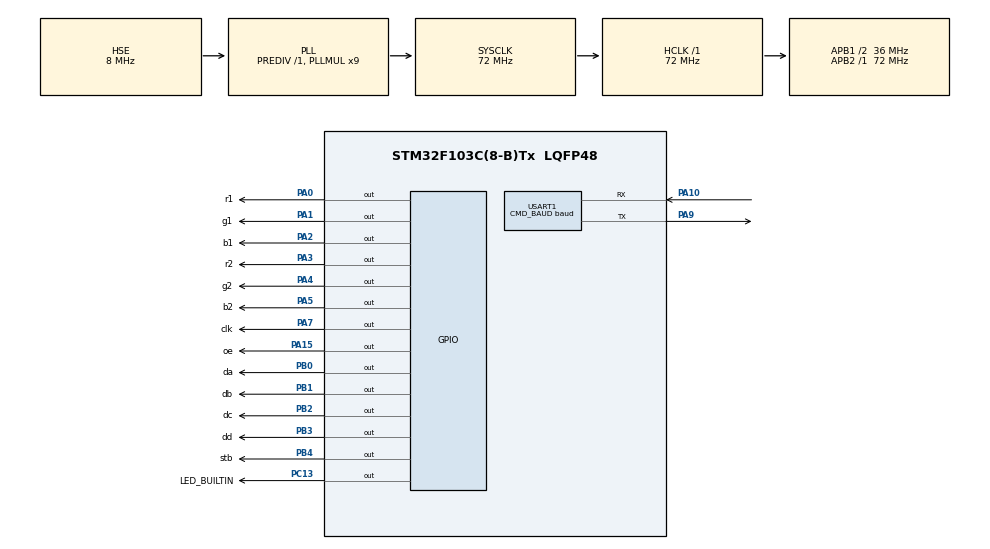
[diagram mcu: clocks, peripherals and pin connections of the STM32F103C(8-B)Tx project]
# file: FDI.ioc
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Dma.Request0=TIM1_UP
Dma.TIM1_UP.0.Direction=DMA_MEMORY_TO_PERIPH
Dma.TIM1_UP.0.Instance=DMA1_Channel5
Dma.TIM1_UP.0.MemDataAlignment=DMA_MDATAALIGN_BYTE
Dma.TIM1_UP.0.MemInc=DMA_MINC_ENABLE
Dma.TIM1_UP.0.Mode=DMA_NORMAL
Dma.TIM1_UP.0.PeriphDataAlignment=DMA_PDATAALIGN_BYTE
Dma.TIM1_UP.0.PeriphInc=DMA_PINC_DISABLE
Dma.TIM1_UP.0.Priority=DMA_PRIORITY_HIGH
IWDG.Prescaler=IWDG_PRESCALER_64
IWDG.Reload=IWDG_1S
Mcu.Family=STM32F1
Mcu.Name=STM32F103C(8-B)Tx
Mcu.Package=LQFP48
Mcu.UserConstants=CLK_PSC,0;CLK_ARR,5;CLK_MAX_DUTY,(CLK_ARR + 1);OE_PSC,0;OE_ARR,59999;OE_MAX_DUTY,(OE_ARR + 1);IWDG_1S,625;CMD_BAUD,38400
NVIC.DMA1_Channel5_IRQn=true\:6\:0\:true\:false\:true\:false\:true
NVIC.PriorityGroup=NVIC_PRIORITYGROUP_4
NVIC.TIM2_IRQn=true\:7\:0\:true\:false\:true\:true\:true
NVIC.USART1_IRQn=true\:8\:0\:true\:false\:false\:true\:true
PA0-WKUP.GPIO_Label=r1
PA0-WKUP.GPIO_Speed=GPIO_SPEED_FREQ_HIGH
PA0-WKUP.Signal=GPIO_Output
PA1.GPIO_Label=g1
PA1.GPIO_Speed=GPIO_SPEED_FREQ_HIGH
PA1.Signal=GPIO_Output
PA10.GPIO_PuPd=GPIO_PULLUP
PA10.Mode=Asynchronous
PA10.Signal=USART1_RX
PA13.Mode=Serial_Wire
PA13.Signal=SYS_JTMS-SWDIO
PA14.Mode=Serial_Wire
PA14.Signal=SYS_JTCK-SWCLK
PA15.GPIO_Label=oe
PA15.GPIO_Speed=GPIO_SPEED_FREQ_HIGH
PA15.Signal=GPIO_Output
PA2.GPIO_Label=b1
PA2.GPIO_Speed=GPIO_SPEED_FREQ_HIGH
PA2.Signal=GPIO_Output
PA3.GPIO_Label=r2
PA3.GPIO_Speed=GPIO_SPEED_FREQ_HIGH
PA3.Signal=GPIO_Output
PA4.GPIO_Label=g2
PA4.GPIO_Speed=GPIO_SPEED_FREQ_HIGH
PA4.Signal=GPIO_Output
PA5.GPIO_Label=b2
PA5.GPIO_Speed=GPIO_SPEED_FREQ_HIGH
PA5.Signal=GPIO_Output
PA7.GPIO_Label=clk
PA7.GPIO_ModeDefaultOutputPP=GPIO_MODE_OUTPUT_PP
PA7.GPIO_PuPd=GPIO_NOPULL
PA7.GPIO_Speed=GPIO_SPEED_FREQ_HIGH
PA7.Signal=GPIO_Output
PA9.Mode=Asynchronous
PA9.Signal=USART1_TX
PB0.GPIO_Label=da
PB0.GPIO_Speed=GPIO_SPEED_FREQ_HIGH
PB0.Signal=GPIO_Output
PB1.GPIO_Label=db
PB1.GPIO_Speed=GPIO_SPEED_FREQ_HIGH
PB1.Signal=GPIO_Output
PB2.GPIO_Label=dc
PB2.GPIO_Speed=GPIO_SPEED_FREQ_HIGH
PB2.Signal=GPIO_Output
PB3.GPIO_Label=dd
PB3.GPIO_Speed=GPIO_SPEED_FREQ_HIGH
PB3.Signal=GPIO_Output
PB4.GPIO_Label=stb
PB4.GPIO_Speed=GPIO_SPEED_FREQ_HIGH
PB4.Signal=GPIO_Output
PC13-TAMPER-RTC.GPIO_Label=LED_BUILTIN
PC13-TAMPER-RTC.GPIO_Speed=GPIO_SPEED_FREQ_HIGH
PC13-TAMPER-RTC.PinState=GPIO_PIN_SET
PC13-TAMPER-RTC.Signal=GPIO_Output
PD0-OSC_IN.Mode=HSE-External-Oscillator
PD0-OSC_IN.Signal=RCC_OSC_IN
PD1-OSC_OUT.Mode=HSE-External-Oscillator
PD1-OSC_OUT.Signal=RCC_OSC_OUT
ProjectManager.HeapSize=0x200
ProjectManager.StackSize=0x400
ProjectManager.TargetToolchain=TrueSTUDIO
RCC.AHBFreq_Value=72000000
RCC.APB1CLKDivider=RCC_HCLK_DIV2
RCC.APB1Freq_Value=36000000
RCC.APB1TimFreq_Value=72000000
RCC.APB2Freq_Value=72000000
RCC.APB2TimFreq_Value=72000000
RCC.HCLKFreq_Value=72000000
RCC.PLLMUL=RCC_PLL_MUL9
RCC.PLLSourceVirtual=RCC_PLLSOURCE_HSE
RCC.SYSCLKFreq_VALUE=72000000
RCC.SYSCLKSource=RCC_SYSCLKSOURCE_PLLCLK
RCC.USBFreq_Value=48000000
RCC.USBPrescaler=RCC_USBCLKSOURCE_PLL_DIV1_5
TIM1.Period=CLK_ARR
TIM1.Prescaler=CLK_PSC
TIM2.Period=OE_ARR
TIM2.Prescaler=OE_PSC
TIM2.TIM_MasterOutputTrigger=TIM_TRGO_UPDATE
USART1.BaudRate=CMD_BAUD
USART1.Mode=MODE_RX
USART1.VirtualMode=VM_ASYNC
VP_IWDG_VS_IWDG.Mode=IWDG_Activate
VP_TIM1_VS_ClockSourceINT.Mode=Internal
VP_TIM2_VS_ClockSourceINT.Mode=Internal
board=custom

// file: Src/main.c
/* USER CODE BEGIN Header */
/**
 ******************************************************************************
 * @file           : main.c
 * @brief          : Main program body
 ******************************************************************************
 * @attention
 *
 * <h2><center>&copy; Copyright (c) 2020 STMicroelectronics.
 * All rights reserved.</center></h2>
 *
 * This software component is licensed by ST under BSD 3-Clause license,
 * the "License"; You may not use this file except in compliance with the
 * License. You may obtain a copy of the License at:
 *                        opensource.org/licenses/BSD-3-Clause
 *
 ******************************************************************************
 */
#define USE_EEPROM_FUNCTION		1
/* USER CODE END Header */

#include "main.h"

/* USER CODE BEGIN Includes */
#include <string.h>
#include <stdio.h>
#include <stdlib.h>

#include "stm_hal_serial.h"
#include "matrix_config.h"
#include "matrix.h"

#if USE_EEPROM_FUNCTION==1
#include "eeprom.h"
#endif	//if USE_EEPROM_FUNCTION==1
/* USER CODE END Includes */

/* USER CODE BEGIN PTD */
#define DISPLAY_TEXT_MAX_SIZE		64
typedef enum
{
	st_to_default,
	st_default,
	st_block,
	st_ops
} StateMachineBit_e;

typedef enum
{
	anim_to_start,
	anim_start,
	anim_start_blinking,
	anim_running,
	anim_end,
	anim_info
} StateAnimation_e;

typedef struct
{
	StateAnimation_e state;
	uint32_t timeout;
} Animation_t;

typedef enum
{
	DISPLAY_TEXT = 0,
	DISPLAY_BLOCK
} DisplayType_e;

typedef struct
{
	DisplayType_e type;
	uint8_t fontSize;
	uint8_t color;
	char msg[DISPLAY_TEXT_MAX_SIZE];
	uint32_t timeout;
} DisplayText_t;

typedef struct
{
	Animation_t animation;
	DisplayText_t activeText;
	DisplayText_t newText;
	DisplayText_t defaultText;
	bool newTextAvailable;
} StateKeeper_t;
/* USER CODE END PTD */

/* USER CODE BEGIN PD */
#define DEBUG					0
#if DEBUG==1
uint16_t fps = 0;
#endif	//if DEBUG==1

#define CMD_BUFSIZE				128
#define TEXT_COLOR				0b001

#define CMD_TIMEOUT				35000
/* USER CODE END PD */

IWDG_HandleTypeDef hiwdg;

TIM_HandleTypeDef htim1;
TIM_HandleTypeDef htim2;
DMA_HandleTypeDef hdma_tim1_up;

UART_HandleTypeDef huart1;

/* USER CODE BEGIN PV */
/* TODO Global Variables*/
Ring_Buffer_t tx1Buffer = { { 0 }, 0, 0 };
Ring_Buffer_t rx1Buffer = { { 0 }, 0, 0 };
TSerial serial = { &rx1Buffer, &tx1Buffer, &huart1 };

volatile uint8_t swapBufferStart = 0;
volatile uint32_t activeFrameRowAdress = 0;
volatile uint32_t matrix_row = 0;
volatile uint8_t deactiveMatrix = 0;

char inCmd[CMD_BUFSIZE];

StateKeeper_t stateKeeper;
uint8_t activeDisplayState = st_to_default;

#if USE_EEPROM_FUNCTION==1
const uint16_t START_EE_ADDRESS = 0;
const uint32_t FORMATED_BYTES = 0x6B757200;
const uint8_t EE_DATA_MAX_SIZE = DISPLAY_TEXT_MAX_SIZE / 4 + 1;
#endif	//if USE_EEPROM_FUNCTION==1
/* USER CODE END PV */

void SystemClock_Config(void);
static void MX_GPIO_Init(void);
static void MX_DMA_Init(void);
static void MX_TIM1_Init(void);
static void MX_TIM2_Init(void);
static void MX_USART1_UART_Init(void);
static void MX_IWDG_Init(void);
/* USER CODE BEGIN PFP */
static void startDmaTransfering();
static void dmaTransferCompleted(DMA_HandleTypeDef *hdma);

static HAL_StatusTypeDef parsingCommand(char *cmd, StateKeeper_t *state);
static void commandHandler();
static void commandInit();
#if USE_EEPROM_FUNCTION==1
static void commandEEInit();
static void commandEESave(uint8_t color, uint8_t fontSize, char *buf);
#endif	//if USE_EEPROM_FUNCTION==1

static void displayHandler();
static void displayAnimation(uint8_t currentState, bool blinking);
/* USER CODE END PFP */

int main(void)
{

	/* MCU Configuration--------------------------------------------------------*/

	/* Reset of all peripherals, Initializes the Flash interface and the Systick. */
	HAL_Init();

	/* Configure the system clock */
	SystemClock_Config();

	/* Initialize all configured peripherals */
	MX_GPIO_Init();
	MX_DMA_Init();
	MX_TIM1_Init();
	MX_TIM2_Init();
	MX_USART1_UART_Init();
	MX_IWDG_Init();
	/* USER CODE BEGIN 2 */
	/* TODO Initialization*/
	HAL_IWDG_Refresh(&hiwdg);

	/* init data */
	rgb_init();
	activeFrameRowAdress = rgb_get_buffer(0);

	/* enable tim1 dma */
	__HAL_TIM_ENABLE_DMA(&htim1, TIM_DMA_UPDATE);
	hdma_tim1_up.XferCpltCallback = dmaTransferCompleted;
	/* start timer 1 */
	HAL_TIM_Base_Start(&htim1);

	/* enable tim2 */
	HAL_TIM_Base_Start_IT(&htim2);

	HAL_IWDG_Refresh(&hiwdg);

	rgb_frame_clear(0);
	char headerStart[32];
	uint16_t headerLen = sprintf(headerStart, "Respati");
	rgb_print(0, 0, headerStart, headerLen, TEXT_COLOR, 1);
	swapBufferStart = 1;

	for ( uint8_t i = 0; i < 5; i++ )
	{
		HAL_IWDG_Refresh(&hiwdg);
		HAL_Delay(100);
	}
	rgb_frame_clear(0);
	swapBufferStart = 1;
	for ( uint8_t i = 0; i < 5; i++ )
	{
		HAL_IWDG_Refresh(&hiwdg);
		HAL_Delay(100);
	}

#if DEBUG==1
	uint32_t _ms = 0, fpsTimer = 0;
	while (1)
	{
		_ms = HAL_GetTick();
		HAL_IWDG_Refresh(&hiwdg);

		if (_ms >= fpsTimer)
		{
			fpsTimer = _ms + 1000;

			rgb_frame_clear(0);
			headerLen = sprintf(headerStart, "f= %d", fps);
			fps = 0;
			rgb_print(0, 0, headerStart, headerLen, TEXT_COLOR, 1);
			swapBufferStart = 1;

		}
	}
#endif	//if DEBUG==1

	commandInit();
	serial_init(&serial);
	/* USER CODE END 2 */

	/* Infinite loop */
	/* USER CODE BEGIN WHILE */
	while (1)
	{
		HAL_IWDG_Refresh(&hiwdg);
		/* USER CODE END WHILE */

		/* USER CODE BEGIN 3 */
		commandHandler();
		displayHandler();
	}
	/* USER CODE END 3 */
}

void SystemClock_Config(void)
{
	RCC_OscInitTypeDef RCC_OscInitStruct = { 0 };
	RCC_ClkInitTypeDef RCC_ClkInitStruct = { 0 };

	/** Initializes the CPU, AHB and APB busses clocks
	 */
	RCC_OscInitStruct.OscillatorType = RCC_OSCILLATORTYPE_LSI | RCC_OSCILLATORTYPE_HSE;
	RCC_OscInitStruct.HSEState = RCC_HSE_ON;
	RCC_OscInitStruct.HSEPredivValue = RCC_HSE_PREDIV_DIV1;
	RCC_OscInitStruct.HSIState = RCC_HSI_ON;
	RCC_OscInitStruct.LSIState = RCC_LSI_ON;
	RCC_OscInitStruct.PLL.PLLState = RCC_PLL_ON;
	RCC_OscInitStruct.PLL.PLLSource = RCC_PLLSOURCE_HSE;
	RCC_OscInitStruct.PLL.PLLMUL = RCC_PLL_MUL9;
	if (HAL_RCC_OscConfig(&RCC_OscInitStruct) != HAL_OK)
	{
		Error_Handler();
	}
	/** Initializes the CPU, AHB and APB busses clocks
	 */
	RCC_ClkInitStruct.ClockType = RCC_CLOCKTYPE_HCLK | RCC_CLOCKTYPE_SYSCLK | RCC_CLOCKTYPE_PCLK1
			| RCC_CLOCKTYPE_PCLK2;
	RCC_ClkInitStruct.SYSCLKSource = RCC_SYSCLKSOURCE_PLLCLK;
	RCC_ClkInitStruct.AHBCLKDivider = RCC_SYSCLK_DIV1;
	RCC_ClkInitStruct.APB1CLKDivider = RCC_HCLK_DIV2;
	RCC_ClkInitStruct.APB2CLKDivider = RCC_HCLK_DIV1;

	if (HAL_RCC_ClockConfig(&RCC_ClkInitStruct, FLASH_LATENCY_2) != HAL_OK)
	{
		Error_Handler();
	}
}

static void MX_IWDG_Init(void)
{

	hiwdg.Instance = IWDG;
	hiwdg.Init.Prescaler = IWDG_PRESCALER_64;
	hiwdg.Init.Reload = IWDG_1S;
	if (HAL_IWDG_Init(&hiwdg) != HAL_OK)
	{
		Error_Handler();
	}

}

static void MX_TIM1_Init(void)
{

	TIM_ClockConfigTypeDef sClockSourceConfig = { 0 };
	TIM_MasterConfigTypeDef sMasterConfig = { 0 };

	htim1.Instance = TIM1;
	htim1.Init.Prescaler = CLK_PSC;
	htim1.Init.CounterMode = TIM_COUNTERMODE_UP;
	htim1.Init.Period = CLK_ARR;
	htim1.Init.ClockDivision = TIM_CLOCKDIVISION_DIV1;
	htim1.Init.RepetitionCounter = 0;
	htim1.Init.AutoReloadPreload = TIM_AUTORELOAD_PRELOAD_DISABLE;
	if (HAL_TIM_Base_Init(&htim1) != HAL_OK)
	{
		Error_Handler();
	}
	sClockSourceConfig.ClockSource = TIM_CLOCKSOURCE_INTERNAL;
	if (HAL_TIM_ConfigClockSource(&htim1, &sClockSourceConfig) != HAL_OK)
	{
		Error_Handler();
	}
	sMasterConfig.MasterOutputTrigger = TIM_TRGO_RESET;
	sMasterConfig.MasterSlaveMode = TIM_MASTERSLAVEMODE_DISABLE;
	if (HAL_TIMEx_MasterConfigSynchronization(&htim1, &sMasterConfig) != HAL_OK)
	{
		Error_Handler();
	}

}

static void MX_TIM2_Init(void)
{

	TIM_ClockConfigTypeDef sClockSourceConfig = { 0 };
	TIM_MasterConfigTypeDef sMasterConfig = { 0 };

	htim2.Instance = TIM2;
	htim2.Init.Prescaler = OE_PSC;
	htim2.Init.CounterMode = TIM_COUNTERMODE_UP;
	htim2.Init.Period = OE_ARR;
	htim2.Init.ClockDivision = TIM_CLOCKDIVISION_DIV1;
	htim2.Init.AutoReloadPreload = TIM_AUTORELOAD_PRELOAD_DISABLE;
	if (HAL_TIM_Base_Init(&htim2) != HAL_OK)
	{
		Error_Handler();
	}
	sClockSourceConfig.ClockSource = TIM_CLOCKSOURCE_INTERNAL;
	if (HAL_TIM_ConfigClockSource(&htim2, &sClockSourceConfig) != HAL_OK)
	{
		Error_Handler();
	}
	sMasterConfig.MasterOutputTrigger = TIM_TRGO_UPDATE;
	sMasterConfig.MasterSlaveMode = TIM_MASTERSLAVEMODE_DISABLE;
	if (HAL_TIMEx_MasterConfigSynchronization(&htim2, &sMasterConfig) != HAL_OK)
	{
		Error_Handler();
	}

}

static void MX_USART1_UART_Init(void)
{

	huart1.Instance = USART1;
	huart1.Init.BaudRate = CMD_BAUD;
	huart1.Init.WordLength = UART_WORDLENGTH_8B;
	huart1.Init.StopBits = UART_STOPBITS_1;
	huart1.Init.Parity = UART_PARITY_NONE;
	huart1.Init.Mode = UART_MODE_RX;
	huart1.Init.HwFlowCtl = UART_HWCONTROL_NONE;
	huart1.Init.OverSampling = UART_OVERSAMPLING_16;
	if (HAL_UART_Init(&huart1) != HAL_OK)
	{
		Error_Handler();
	}

}

static void MX_DMA_Init(void)
{

	/* DMA controller clock enable */
	__HAL_RCC_DMA1_CLK_ENABLE()
	;

	/* DMA interrupt init */
	/* DMA1_Channel5_IRQn interrupt configuration */
	HAL_NVIC_SetPriority(DMA1_Channel5_IRQn, 6, 0);
	HAL_NVIC_EnableIRQ(DMA1_Channel5_IRQn);

}

static void MX_GPIO_Init(void)
{
	GPIO_InitTypeDef GPIO_InitStruct = { 0 };

	/* GPIO Ports Clock Enable */
	__HAL_RCC_GPIOC_CLK_ENABLE()
	;
	__HAL_RCC_GPIOD_CLK_ENABLE()
	;
	__HAL_RCC_GPIOA_CLK_ENABLE()
	;
	__HAL_RCC_GPIOB_CLK_ENABLE()
	;

	/*Configure GPIO pin Output Level */
	HAL_GPIO_WritePin(LED_BUILTIN_GPIO_Port, LED_BUILTIN_Pin, GPIO_PIN_SET);

	/*Configure GPIO pin Output Level */
	HAL_GPIO_WritePin(GPIOA, r1_Pin | g1_Pin | b1_Pin | r2_Pin | g2_Pin | b2_Pin | clk_Pin | oe_Pin,
			GPIO_PIN_RESET);

	/*Configure GPIO pin Output Level */
	HAL_GPIO_WritePin(GPIOB, da_Pin | db_Pin | dc_Pin | dd_Pin | stb_Pin, GPIO_PIN_RESET);

	/*Configure GPIO pin : LED_BUILTIN_Pin */
	GPIO_InitStruct.Pin = LED_BUILTIN_Pin;
	GPIO_InitStruct.Mode = GPIO_MODE_OUTPUT_PP;
	GPIO_InitStruct.Pull = GPIO_NOPULL;
	GPIO_InitStruct.Speed = GPIO_SPEED_FREQ_HIGH;
	HAL_GPIO_Init(LED_BUILTIN_GPIO_Port, &GPIO_InitStruct);

	/*Configure GPIO pins : PC14 PC15 */
	GPIO_InitStruct.Pin = GPIO_PIN_14 | GPIO_PIN_15;
	GPIO_InitStruct.Mode = GPIO_MODE_ANALOG;
	HAL_GPIO_Init(GPIOC, &GPIO_InitStruct);

	/*Configure GPIO pins : r1_Pin g1_Pin b1_Pin r2_Pin
	 g2_Pin b2_Pin clk_Pin oe_Pin */
	GPIO_InitStruct.Pin = r1_Pin | g1_Pin | b1_Pin | r2_Pin | g2_Pin | b2_Pin | clk_Pin | oe_Pin;
	GPIO_InitStruct.Mode = GPIO_MODE_OUTPUT_PP;
	GPIO_InitStruct.Pull = GPIO_NOPULL;
	GPIO_InitStruct.Speed = GPIO_SPEED_FREQ_HIGH;
	HAL_GPIO_Init(GPIOA, &GPIO_InitStruct);

	/*Configure GPIO pins : PA6 PA8 PA11 PA12 */
	GPIO_InitStruct.Pin = GPIO_PIN_6 | GPIO_PIN_8 | GPIO_PIN_11 | GPIO_PIN_12;
	GPIO_InitStruct.Mode = GPIO_MODE_ANALOG;
	HAL_GPIO_Init(GPIOA, &GPIO_InitStruct);

	/*Configure GPIO pins : da_Pin db_Pin dc_Pin dd_Pin
	 stb_Pin */
	GPIO_InitStruct.Pin = da_Pin | db_Pin | dc_Pin | dd_Pin | stb_Pin;
	GPIO_InitStruct.Mode = GPIO_MODE_OUTPUT_PP;
	GPIO_InitStruct.Pull = GPIO_NOPULL;
	GPIO_InitStruct.Speed = GPIO_SPEED_FREQ_HIGH;
	HAL_GPIO_Init(GPIOB, &GPIO_InitStruct);

	/*Configure GPIO pins : PB10 PB11 PB12 PB13
	 PB14 PB15 PB5 PB6
	 PB7 PB8 PB9 */
	GPIO_InitStruct.Pin = GPIO_PIN_10 | GPIO_PIN_11 | GPIO_PIN_12 | GPIO_PIN_13 | GPIO_PIN_14
			| GPIO_PIN_15 | GPIO_PIN_5 | GPIO_PIN_6 | GPIO_PIN_7 | GPIO_PIN_8 | GPIO_PIN_9;
	GPIO_InitStruct.Mode = GPIO_MODE_ANALOG;
	HAL_GPIO_Init(GPIOB, &GPIO_InitStruct);

}

/* USER CODE BEGIN 4 */
/* TODO Function Declaration*/
static void displayAnimation(uint8_t currentState, bool blinking)
{
	char *text;
	uint8_t fontColor;
	uint8_t fontSize;
	static int16_t xAnimPos = 0;
	static int16_t yAnimPos = 0;
	int16_t xAnimEndPos = 0;
	static uint8_t blinkCounter = 0;

	if (currentState == st_ops)
	{
		text = stateKeeper.activeText.msg;
		fontColor = stateKeeper.activeText.color;
		fontSize = stateKeeper.activeText.fontSize;
	}
	else
	{
		text = stateKeeper.defaultText.msg;
		fontColor = stateKeeper.defaultText.color;
		fontSize = stateKeeper.defaultText.fontSize;
	}

	if (stateKeeper.animation.state == anim_to_start)
	{
		if (currentState == st_ops)
		{
			if (stateKeeper.newTextAvailable && (stateKeeper.newText.type == DISPLAY_TEXT))
			{
				stateKeeper.activeText = stateKeeper.newText;
				stateKeeper.newTextAvailable = false;
				text = stateKeeper.activeText.msg;
				fontColor = stateKeeper.activeText.color;
				fontSize = stateKeeper.activeText.fontSize;
			}
		}

		if ((strchr(text, '\r') != NULL) || (strchr(text, '\n') != NULL))
		{
			rgb_frame_clear(0);
			rgb_print_constrain(0, 0, text, strlen(text), fontColor, fontSize, 0,
			MATRIX_MAX_WIDTH, 0, MATRIX_MAX_HEIGHT);

			swapBufferStart = 1;
			stateKeeper.animation.state = anim_info;
		}
		else
		{
			blinkCounter = 0;
			if (blinking)
				stateKeeper.animation.state = anim_start_blinking;
			else
			{
				rgb_frame_clear(0);
				xAnimPos = 0;
				yAnimPos = (MATRIX_MAX_HEIGHT - 8 * fontSize) / 2;
				rgb_print_constrain(xAnimPos, yAnimPos, text, strlen(text), fontColor, fontSize, 0,
				MATRIX_MAX_WIDTH, 0, MATRIX_MAX_HEIGHT);

				swapBufferStart = 1;

				stateKeeper.animation.timeout = HAL_GetTick() + 1000;
				stateKeeper.animation.state = anim_start;
			}
		}
	}
	else if (stateKeeper.animation.state == anim_info)
	{
		if (currentState == st_ops)
		{
			if (stateKeeper.newTextAvailable && (stateKeeper.newText.type == DISPLAY_TEXT))
				stateKeeper.animation.state = anim_to_start;
		}
	}
	else if (stateKeeper.animation.state == anim_start_blinking)
	{
		if (HAL_GetTick() >= stateKeeper.animation.timeout)
		{
			if (++blinkCounter > 6)
				stateKeeper.animation.state = anim_running;
			else
			{
				rgb_frame_clear(0);
				if (bitRead(blinkCounter, 0))
				{
					xAnimPos = 0;
					yAnimPos = (MATRIX_MAX_HEIGHT - 8 * fontSize) / 2;
					rgb_print_constrain(xAnimPos, yAnimPos, text, strlen(text), fontColor, fontSize,
							0,
							MATRIX_MAX_WIDTH, 0, MATRIX_MAX_HEIGHT);
				}
				swapBufferStart = 1;

				stateKeeper.animation.timeout = HAL_GetTick() + 250;
			}
		}
	}
	else if (stateKeeper.animation.state == anim_start)
	{
		if (HAL_GetTick() >= stateKeeper.animation.timeout)
			stateKeeper.animation.state = anim_running;
	}
	else if (stateKeeper.animation.state == anim_running)
	{
		if (HAL_GetTick() >= stateKeeper.animation.timeout)
		{
			rgb_frame_clear(0);
			xAnimEndPos = rgb_print_constrain(xAnimPos, yAnimPos, text, strlen(text), fontColor,
					fontSize, 0, MATRIX_MAX_WIDTH, 0, MATRIX_MAX_HEIGHT);
			swapBufferStart = 1;
			if (xAnimEndPos >= MATRIX_MAX_WIDTH)
			{
				xAnimPos--;
				stateKeeper.animation.timeout = HAL_GetTick() + 30;
			}
			else
			{
				stateKeeper.animation.state = anim_end;
				stateKeeper.animation.timeout = HAL_GetTick() + 1000;
			}
		}
	}
	else if (stateKeeper.animation.state == anim_end)
	{
		if (HAL_GetTick() >= stateKeeper.animation.timeout)
			stateKeeper.animation.state = anim_to_start;
	}
}

static void displayCheckState()
{
	if (stateKeeper.newTextAvailable)
	{
		if (stateKeeper.newText.type == DISPLAY_TEXT)
		{
			activeDisplayState = st_ops;
			stateKeeper.animation.state = anim_to_start;
		}
		else if (stateKeeper.newText.type == DISPLAY_BLOCK)
			activeDisplayState = st_block;

		stateKeeper.animation.state = anim_to_start;
	}
}

static void displayHandler()
{
	if (activeDisplayState != st_default && !stateKeeper.newTextAvailable)
	{
		if (HAL_GetTick() >= stateKeeper.activeText.timeout)
		{
			stateKeeper.activeText = stateKeeper.defaultText;
			stateKeeper.activeText.timeout = 0;
			activeDisplayState = st_default;
			stateKeeper.animation.state = anim_to_start;
			stateKeeper.animation.timeout = HAL_GetTick() + 1000;
		}
	}

	if (activeDisplayState == st_block)
	{
		if ((stateKeeper.newTextAvailable) && (stateKeeper.newText.type == DISPLAY_BLOCK))
		{
			stateKeeper.activeText = stateKeeper.newText;
			rgb_frame_clear(stateKeeper.activeText.color);
			swapBufferStart = 1;
			stateKeeper.newTextAvailable = false;
		}

		if (HAL_GetTick() >= stateKeeper.activeText.timeout)
			activeDisplayState = st_to_default;
	}
	else if (activeDisplayState == st_ops)
	{
		if ((stateKeeper.newTextAvailable) && (stateKeeper.newText.type == DISPLAY_BLOCK))
			activeDisplayState = st_block;

		displayAnimation(st_ops, 1);
	}
	else if (activeDisplayState == st_to_default)
		displayCheckState();
	else
	{
		displayAnimation(st_default, 1);
		displayCheckState();
	}

}

static HAL_StatusTypeDef parsingCommand(char *cmd, StateKeeper_t *state)
{
	char *pointer = cmd;
	char tem[DISPLAY_TEXT_MAX_SIZE];
	uint16_t pos;
	bool defCmd = false;
	uint16_t i;
	uint16_t msgIndex;
	uint8_t fontSize = 0, fontColor = 0;
	DisplayType_e newType = DISPLAY_TEXT;

	/* skip header byte */
	pointer++;

	/* acquire cmd type */
	memset(tem, 0, DISPLAY_TEXT_MAX_SIZE);
	pos = strlen(pointer);
	for ( i = 0; i < pos; i++ )
	{
		if (*pointer != ',')
			tem[i] = *pointer++;
		else
			break;
	}

	if ((i >= pos) && (strlen(tem) == 0))
		return HAL_ERROR;

	if (strcmp(tem, "BLK") == 0)
		newType = DISPLAY_BLOCK;
	else if (strcmp(tem, "MSG") == 0)
		newType = DISPLAY_TEXT;
	else if (strcmp(tem, "DEF") == 0)
	{
		newType = DISPLAY_TEXT;
		defCmd = true;
	}
	else
		return HAL_ERROR;

	/* acquire text color */
	pointer++;
	memset(tem, 0, DISPLAY_TEXT_MAX_SIZE);
	pos = strlen(pointer);
	for ( i = 0; i < pos; i++ )
	{
		if (*pointer == ',')
			break;
		else
			tem[i] = *pointer++;
	}
	if ((i >= pos) && (strlen(tem) == 0))
		return HAL_ERROR;

	fontColor = atoi(tem) % 8;

	if (newType == DISPLAY_BLOCK)
	{
		/* acquire block timeout */
		pointer++;
		memset(tem, 0, DISPLAY_TEXT_MAX_SIZE);
		pos = strlen(pointer);
		for ( i = 0; i < pos; i++ )
		{
			if (*pointer == '*')
				break;
			else
				tem[i] = *pointer++;
		}
		if ((i >= pos) && (strlen(tem) == 0))
			return HAL_ERROR;

		state->newText.type = newType;
		state->newText.color = fontColor;
		state->newTextAvailable = true;
		state->newText.timeout = atoi(tem) + HAL_GetTick();
	}
	else if (newType == DISPLAY_TEXT)
	{
		/* acquire text size */
		pointer++;
		memset(tem, 0, DISPLAY_TEXT_MAX_SIZE);
		pos = strlen(pointer);
		for ( i = 0; i < pos; i++ )
		{
			if (*pointer == ',')
				break;
			else
				tem[i] = *pointer++;
		}
		if ((i >= pos) && (strlen(tem) == 0))
			return HAL_ERROR;
		fontSize = atoi(tem) % 5;

		/* acquire text */
		pointer++;
		if (*pointer != '\"')
			return HAL_ERROR;

		pointer++;
		memset(tem, 0, DISPLAY_TEXT_MAX_SIZE);
		pos = strlen(pointer);
		msgIndex = 0;
		for ( i = 0; i < pos; i++ )
		{
			if (*pointer == '\"')
			{
				if ((msgIndex > 0) && ((tem[msgIndex - 1] == '\\')))
					msgIndex--;
				else
					break;
			}

			tem[msgIndex++] = *pointer++;
		}
		if ((i >= pos) && (strlen(tem) == 0))
			return HAL_ERROR;

		if (defCmd)
		{
			state->defaultText.type = newType;
			state->defaultText.color = fontColor;
			state->defaultText.fontSize = fontSize;
			/* re-write default message */
			memset(state->defaultText.msg, 0, DISPLAY_TEXT_MAX_SIZE);
			memcpy(state->defaultText.msg, tem, strlen(tem));
			/* save to eeprom */
#if USE_EEPROM_FUNCTION==1
			commandEESave(fontColor, fontSize, state->defaultText.msg);
#endif	//if USE_EEPROM_FUNCTION==1
		}
		else
		{
			state->newText.type = newType;
			state->newText.color = fontColor;
			state->newText.fontSize = fontSize;
			/* re-write msg buffer */
			memset(state->newText.msg, 0, DISPLAY_TEXT_MAX_SIZE);
			memcpy(state->newText.msg, tem, strlen(tem));

			state->newTextAvailable = true;
			state->newText.timeout = CMD_TIMEOUT + HAL_GetTick();
		}
	}

	return HAL_OK;
}

static void commandHandler()
{
	bool command_available = false;
	char c[2] = { 0, 0 };

	if (serial_available(&serial))
	{
		c[0] = serial_read(&serial);

		if (c[0] == '$')
			memset(inCmd, 0, CMD_BUFSIZE);
		else if (c[0] == '*')
			command_available = true;

		strcat(inCmd, c);
	}

	if (command_available)
		parsingCommand(inCmd, &stateKeeper);
}

static void commandInit()
{
	/* initialize stateKeeper */
	stateKeeper.activeText.color = 0;
	stateKeeper.activeText.fontSize = 1;
	stateKeeper.activeText.type = DISPLAY_TEXT;
	memset(stateKeeper.activeText.msg, 0, DISPLAY_TEXT_MAX_SIZE);
	stateKeeper.activeText.timeout = HAL_GetTick() + CMD_TIMEOUT;

	stateKeeper.defaultText.color = 1;
	stateKeeper.defaultText.fontSize = 2;
	stateKeeper.defaultText.type = DISPLAY_TEXT;
	sprintf(stateKeeper.defaultText.msg, "PT KERETA API INDONESIA (PERSERO)");

#if USE_EEPROM_FUNCTION==1
	commandEEInit();
#endif	//if USE_EEPROM_FUNCTION==1
}

#if USE_EEPROM_FUNCTION==1

static void commandEEInit()
{
	uint32_t data = 0;
	uint32_t formatMask = 0xFFFFFF00;
	uint8_t u8;
	uint32_t defText[DISPLAY_TEXT_MAX_SIZE / 4];

	if (EE_Read(START_EE_ADDRESS, &data))
	{
		if ((data & formatMask) != FORMATED_BYTES)
			commandEESave(stateKeeper.defaultText.color, stateKeeper.defaultText.fontSize,
					stateKeeper.defaultText.msg);
		else
		{
			/* retrieve font color & size */
			u8 = data & 0xFF;
			stateKeeper.defaultText.type = DISPLAY_TEXT;
			stateKeeper.defaultText.color = u8 & 0xF;
			stateKeeper.defaultText.fontSize = u8 >> 4;

			if (EE_Reads(START_EE_ADDRESS + 1, DISPLAY_TEXT_MAX_SIZE / 4, defText))
			{
				memset(stateKeeper.defaultText.msg, 0, DISPLAY_TEXT_MAX_SIZE);
				for ( int i = 0; i < DISPLAY_TEXT_MAX_SIZE / 4; i++ )
				{
					data = defText[i];
					for ( int j = 0; j < 4; j++ )
						stateKeeper.defaultText.msg[i * 4 + j] = (char) (data >> (8 * j));
				}
			}
		}
	}
}

static void commandEESave(uint8_t color, uint8_t fontSize, char *buf)
{
	uint32_t data = FORMATED_BYTES;
	data |= (fontSize << 4) & 0xF0;
	data |= color & 0xF;

	/* temporary clear display */
	rgb_frame_clear(0);
	swapBufferStart = 1;
	while (swapBufferStart)
		;
	/* temporary de-active display matrix */
	deactiveMatrix = 1;
	while (deactiveMatrix)
		;

	EE_Format();

	EE_Write(START_EE_ADDRESS, data);
	for ( int i = 0; i < EE_DATA_MAX_SIZE - 1; i++ )
	{
		data = 0;
		for ( int j = 0; j < 4; j++ )
			data |= (uint32_t) (*buf++) << (8 * j);
		EE_Write(START_EE_ADDRESS + 1 + i, data);
	}

	/* retrieve old display buffer */
	rgb_swap_buffer();
	activeFrameRowAdress = rgb_get_buffer(matrix_row);
	/* activate display matrix again */
	startDmaTransfering();
}
#endif	//if USE_EEPROM_FUNCTION==1

void USART1_IRQHandler(void)
{
	USARTx_IRQHandler(&serial);
}

static void startDmaTransfering()
{
	HAL_DMA_Start_IT(&hdma_tim1_up, activeFrameRowAdress, (uint32_t) &DATA_GPIO->ODR,
	FRAME_SIZE);
}

static void dmaTransferCompleted(DMA_HandleTypeDef *hdma)
{
	/* clear clk & data */
	DATA_GPIO->BSRR = DATA_BSRR_CLEAR;

	/* set oe & stb high */
	oe_GPIO_Port->BSRR = oe_Pin;
	stb_GPIO_Port->BSRR = stb_Pin;
#if MODULE_USED==P8_LOKAL
	uint32_t active_row = 0xF;
	bitWrite(active_row, matrix_row, 0);
	CONTROL_GPIO->ODR = (active_row << CONTROL_SHIFTER);
#endif	//if MODULE_USED==P8_LOKAL

#if MODULE_USED==P8_IMPORT
	CONTROL_GPIO->ODR = (matrix_row << CONTROL_SHIFTER);
#endif	//if MODULE_USED=P8_IMPORT

	/* add 3 clk to enable STB/LAT effect */
	clk_GPIO_Port->BSRR = clk_Pin;
	clk_GPIO_Port->BSRR = DATA_BSRR_CLK_CLEAR;
	clk_GPIO_Port->BSRR = clk_Pin;
	clk_GPIO_Port->BSRR = DATA_BSRR_CLK_CLEAR;
	clk_GPIO_Port->BSRR = clk_Pin;
	clk_GPIO_Port->BSRR = DATA_BSRR_CLK_CLEAR;
	/* set oe & stb LOW */
	stb_GPIO_Port->BSRR = CONTROL_BSRR_STB_CLEAR;
	oe_GPIO_Port->BSRR = DATA_BSRR_OE_CLEAR;

	/* update matrix row */
	if (++matrix_row >= MATRIX_SCANROW)
	{
		matrix_row = 0;
		if (swapBufferStart)
		{
			rgb_swap_buffer();
			swapBufferStart = 0;
		}

#if DEBUG
		fps++;
#endif	//if DEBUG

	}
	activeFrameRowAdress = rgb_get_buffer(matrix_row);

	/* add delay to display */
	/* enable tim2 */
	htim2.Instance->CNT = 0;
	if (matrix_row == 0 && deactiveMatrix)
		deactiveMatrix = 0;
	else
		HAL_TIM_Base_Start_IT(&htim2);

}

void HAL_TIM_PeriodElapsedCallback(TIM_HandleTypeDef *htim)
{
	HAL_TIM_Base_Stop_IT(htim);
	startDmaTransfering();
}
/* TODO END of Function Declaration*/
/* USER CODE END 4 */

void Error_Handler(void)
{
}

/************************ (C) COPYRIGHT STMicroelectronics *****END OF FILE****/
